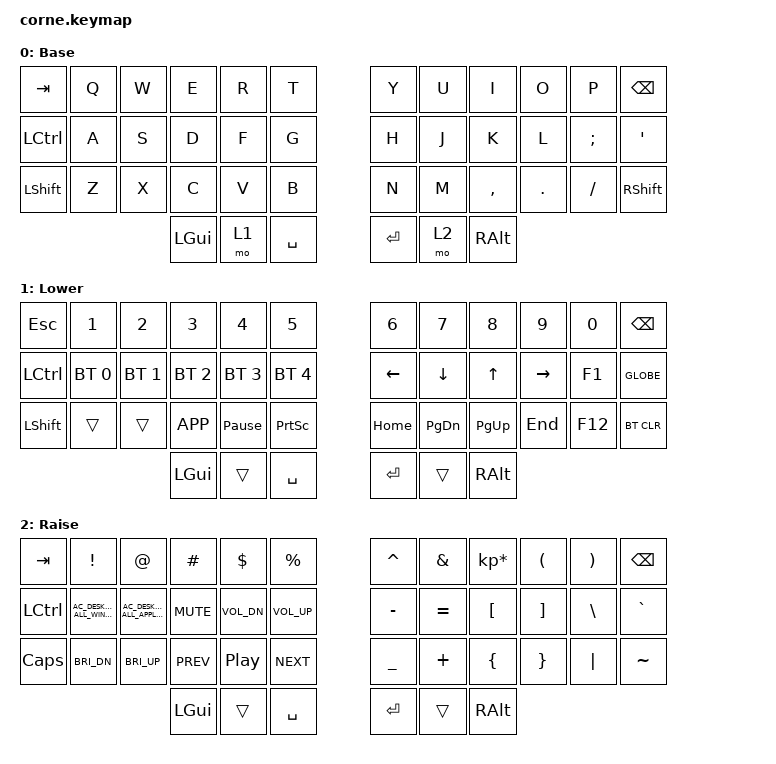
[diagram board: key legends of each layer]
/*
 * Copyright (c) 2020 The ZMK Contributors
 *
 * SPDX-License-Identifier: MIT
 */

#include <behaviors.dtsi>
#include <dt-bindings/zmk/bt.h>
#include <dt-bindings/zmk/keys.h>

/ {
    keymap {
        compatible = "zmk,keymap";

        default_layer {
            // -----------------------------------------------------------------------------------------
            // |  TAB |  Q  |  W  |  E  |  R  |  T  |   |  Y  |  U   |  I  |  O  |  P  | BKSP |
            // | CTRL |  A  |  S  |  D  |  F  |  G  |   |  H  |  J   |  K  |  L  |  ;  |  '   |
            // | SHFT |  Z  |  X  |  C  |  V  |  B  |   |  N  |  M   |  ,  |  .  |  /  | SHFT |
            //                    | GUI | LWR | SPC |   | ENT | RSE  | ALT |

            label = "Base";
            bindings = <
&kp TAB    &kp Q  &kp W  &kp E     &kp R  &kp T        &kp Y    &kp U  &kp I      &kp O    &kp P     &kp BSPC
&kp LCTRL  &kp A  &kp S  &kp D     &kp F  &kp G        &kp H    &kp J  &kp K      &kp L    &kp SEMI  &kp SQT
&kp LSHFT  &kp Z  &kp X  &kp C     &kp V  &kp B        &kp N    &kp M  &kp COMMA  &kp DOT  &kp FSLH  &kp RSHFT
                         &kp LGUI  &mo 1  &kp SPACE    &kp RET  &mo 2  &kp RALT
            >;
        };

        lower_layer {
            // -----------------------------------------------------------------------------------------
            // |  TAB |  1  |  2  |  3  |  4  |  5  |   |  6  |  7  |  8  |  9  |  0  | BKSP |
            // | CTRL | BT1 | BT2 | BT3 | BT4 | BT5 |   | LFT | DWN |  UP | RGT | F1  | GLOBE|
            // | SHFT |     |     |CTX M|PAUSE|PSCRN|   | HOME|PG DN|PG UP| END | F12 | BTCLR|
            //                    | GUI |     | SPC |   | ENT |     | ALT |

            label = "Lower";
            bindings = <
&kp ESC    &kp N1        &kp N2        &kp N3        &kp N4           &kp N5          &kp N6    &kp N7         &kp N8       &kp N9     &kp N0   &kp BSPC
&kp LCTRL  &bt BT_SEL 0  &bt BT_SEL 1  &bt BT_SEL 2  &bt BT_SEL 3     &bt BT_SEL 4    &kp LEFT  &kp DOWN       &kp UP       &kp RIGHT  &kp F1   &kp GLOBE
&kp LSHFT  &trans        &trans        &kp K_APP     &kp PAUSE_BREAK  &kp PSCRN       &kp HOME  &kp PAGE_DOWN  &kp PAGE_UP  &kp END    &kp F12  &bt BT_CLR
                                       &kp LGUI      &trans           &kp SPACE       &kp RET   &trans         &kp RALT
            >;
        };

        raise_layer {
            // -----------------------------------------------------------------------------------------
            // |  TAB |  !  |  @  |  #  |  $  |  %  |   |  ^  |  &  |  *  |  (  |  )  | BKSP |
            // | CTRL |SAWIN|SAAPP| MUTE|VOLDN|VOLUP|   |  -  |  =  |  [  |  ]  |  \  |  `   |
            // | SHFT |BRIDN|BRIUP| PREV| PLAY| NEXT|   |  _  |  +  |  {  |  }  | "|" |  ~   |
            //                    | GUI |     | SPC |   | ENT |     | ALT |

            label = "Raise";
            bindings = <
&kp TAB    &kp EXCL                           &kp AT                                  &kp HASH    &kp DLLR      &kp PRCNT       &kp CARET  &kp AMPS   &kp KP_MULTIPLY  &kp LPAR  &kp RPAR  &kp BSPC
&kp LCTRL  &kp C_AC_DESKTOP_SHOW_ALL_WINDOWS  &kp C_AC_DESKTOP_SHOW_ALL_APPLICATIONS  &kp K_MUTE  &kp C_VOL_DN  &kp C_VOL_UP    &kp MINUS  &kp EQUAL  &kp LBKT         &kp RBKT  &kp BSLH  &kp GRAVE
&kp CAPS   &kp C_BRI_DN                       &kp C_BRI_UP                            &kp C_PREV  &kp C_PP      &kp C_NEXT      &kp UNDER  &kp PLUS   &kp LBRC         &kp RBRC  &kp PIPE  &kp TILDE
                                                                                      &kp LGUI    &trans        &kp SPACE       &kp RET    &trans     &kp RALT
            >;
        };
    };
};
